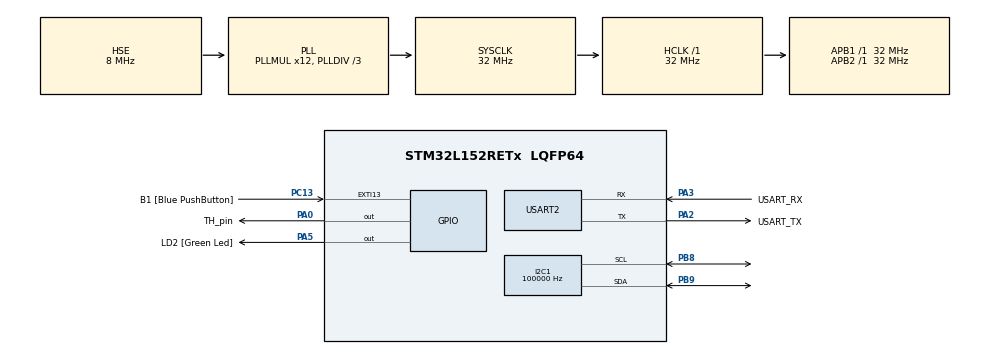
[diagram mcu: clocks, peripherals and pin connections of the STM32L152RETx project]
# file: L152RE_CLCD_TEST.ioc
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Dma.Request0=USART2_RX
Dma.Request1=USART2_TX
Dma.USART2_RX.0.Direction=DMA_PERIPH_TO_MEMORY
Dma.USART2_RX.0.Instance=DMA1_Channel6
Dma.USART2_RX.0.MemDataAlignment=DMA_MDATAALIGN_BYTE
Dma.USART2_RX.0.MemInc=DMA_MINC_ENABLE
Dma.USART2_RX.0.Mode=DMA_NORMAL
Dma.USART2_RX.0.PeriphDataAlignment=DMA_PDATAALIGN_BYTE
Dma.USART2_RX.0.PeriphInc=DMA_PINC_DISABLE
Dma.USART2_RX.0.Priority=DMA_PRIORITY_LOW
Dma.USART2_TX.1.Direction=DMA_MEMORY_TO_PERIPH
Dma.USART2_TX.1.Instance=DMA1_Channel7
Dma.USART2_TX.1.MemDataAlignment=DMA_MDATAALIGN_BYTE
Dma.USART2_TX.1.MemInc=DMA_MINC_ENABLE
Dma.USART2_TX.1.Mode=DMA_NORMAL
Dma.USART2_TX.1.PeriphDataAlignment=DMA_PDATAALIGN_BYTE
Dma.USART2_TX.1.PeriphInc=DMA_PINC_DISABLE
Dma.USART2_TX.1.Priority=DMA_PRIORITY_LOW
I2C1.ClockSpeed=100000
Mcu.Family=STM32L1
Mcu.Name=STM32L152RETx
Mcu.Package=LQFP64
NVIC.DMA1_Channel6_IRQn=true\:0\:0\:false\:false\:true\:false\:true\:true
NVIC.DMA1_Channel7_IRQn=true\:0\:0\:false\:false\:true\:false\:true\:true
NVIC.PriorityGroup=NVIC_PRIORITYGROUP_0
NVIC.USART2_IRQn=true\:0\:0\:false\:false\:true\:true\:true\:true
PA0-WKUP1.GPIO_Label=TH_pin
PA0-WKUP1.GPIO_ModeDefaultOutputPP=GPIO_MODE_OUTPUT_OD
PA0-WKUP1.GPIO_PuPd=GPIO_PULLUP
PA0-WKUP1.GPIO_Speed=GPIO_SPEED_FREQ_HIGH
PA0-WKUP1.Signal=GPIO_Output
PA13.GPIO_Label=TMS
PA13.Mode=Serial_Wire
PA13.Signal=SYS_JTMS-SWDIO
PA14.GPIO_Label=TCK
PA14.Mode=Serial_Wire
PA14.Signal=SYS_JTCK-SWCLK
PA2.GPIO_Label=USART_TX
PA2.Mode=Asynchronous
PA2.Signal=USART2_TX
PA3.GPIO_Label=USART_RX
PA3.Mode=Asynchronous
PA3.Signal=USART2_RX
PA5.GPIO_Label=LD2 [Green Led]
PA5.Signal=GPIO_Output
PB3.GPIO_Label=SWO
PB3.Signal=SYS_JTDO-TRACESWO
PB8.Mode=I2C
PB8.Signal=I2C1_SCL
PB9.Mode=I2C
PB9.Signal=I2C1_SDA
PC13-WKUP2.GPIO_Label=B1 [Blue PushButton]
PC13-WKUP2.Signal=GPXTI13
PC14-OSC32_IN.Mode=LSE-External-Oscillator
PC14-OSC32_IN.Signal=RCC_OSC32_IN
PC15-OSC32_OUT.Mode=LSE-External-Oscillator
PC15-OSC32_OUT.Signal=RCC_OSC32_OUT
PH0-OSC_IN.Mode=HSE-External-Clock-Source
PH0-OSC_IN.Signal=RCC_OSC_IN
PH1-OSC_OUT.Signal=RCC_OSC_OUT
ProjectManager.HeapSize=0x200
ProjectManager.StackSize=0x400
ProjectManager.TargetToolchain=STM32CubeIDE
RCC.48MHZClocksFreq_Value=48000000
RCC.AHBFreq_Value=32000000
RCC.APB1Freq_Value=32000000
RCC.APB1TimFreq_Value=32000000
RCC.APB2Freq_Value=32000000
RCC.APB2TimFreq_Value=32000000
RCC.HCLKFreq_Value=32000000
RCC.HSE_VALUE=8000000
RCC.HSI_VALUE=16000000
RCC.MSI_VALUE=2097000
RCC.PLLDIV=RCC_PLL_DIV3
RCC.PLLMUL=RCC_PLL_MUL12
RCC.PLLSourceVirtual=RCC_PLLSOURCE_HSE
RCC.RTCClockSelectionVirtual=RCC_RTCCLKSOURCE_LSE
RCC.SYSCLKFreq_VALUE=32000000
RCC.SYSCLKSource=RCC_SYSCLKSOURCE_PLLCLK
RCC.USBOutput=48000000
RCC.VCOOutputFreq_Value=96000000
TIM3.Prescaler=32-1
USART2.VirtualMode=VM_ASYNC
VP_TIM3_VS_ClockSourceINT.Mode=Internal
board=NUCLEO-L152RE

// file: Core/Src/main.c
/* USER CODE BEGIN Header */
/**
  ******************************************************************************
  * @file           : main.c
  * @brief          : Main program body
  ******************************************************************************
  * @attention
  *
  * Copyright (c) 2022 STMicroelectronics.
  * All rights reserved.
  *
  * This software is licensed under terms that can be found in the LICENSE file
  * in the root directory of this software component.
  * If no LICENSE file comes with this software, it is provided AS-IS.
  *
  ******************************************************************************
  */
/* USER CODE END Header */
#include "main.h"

/* USER CODE BEGIN Includes */
#include "string.h"
#include "stdio.h"
#include "char_lcd.h"
#include "am2302.h"
//#include "dht11.h"
#include "stdlib.h"

/* USER CODE END Includes */

 I2C_HandleTypeDef hi2c1;

TIM_HandleTypeDef htim3;

UART_HandleTypeDef huart2;
DMA_HandleTypeDef hdma_usart2_rx;
DMA_HandleTypeDef hdma_usart2_tx;

void SystemClock_Config(void);
static void MX_GPIO_Init(void);
static void MX_I2C1_Init(void);
static void MX_DMA_Init(void);
static void MX_USART2_UART_Init(void);
static void MX_TIM3_Init(void);

/* USER CODE BEGIN 0 */
void delay_us(uint16_t delay){
    __HAL_TIM_SET_COUNTER(&htim3, 0);
    while(__HAL_TIM_GET_COUNTER(&htim3) < delay){
        __asm__ __volatile__ ("nop");
    }
}
void startUsCounter(){
    __HAL_TIM_SET_COUNTER(&htim3, 0);
}
uint16_t getUsCounter(){
    return __HAL_TIM_GET_COUNTER(&htim3);
}

/* USER CODE END 0 */

int main(void)
{

  /* MCU Configuration--------------------------------------------------------*/

  /* Reset of all peripherals, Initializes the Flash interface and the Systick. */
  HAL_Init();

  /* Configure the system clock */
  SystemClock_Config();

  /* Initialize all configured peripherals */
  MX_GPIO_Init();
  MX_I2C1_Init();
  MX_DMA_Init();
  MX_USART2_UART_Init();
  MX_TIM3_Init();
  /* USER CODE BEGIN 2 */
    HAL_TIM_Base_Start(&htim3);
    HAL_Delay(200);
    LCD_init();
  /* USER CODE END 2 */

  /* Infinite loop */
  /* USER CODE BEGIN WHILE */
#pragma clang diagnostic push
#pragma ide diagnostic ignored "EndlessLoop"
  while (1)
  {
    /* USER CODE END WHILE */

    /* USER CODE BEGIN 3 */
      LCD_set_cursor(0, 0);
      char tx_str[40]={0,};
      static char c = '?';
      c = c=='|' ? '-':'|';
      THdata th_data = am2302_getSensorData();
      if (th_data.temp == AM2302_SENSOR_ERROR.temp){
          sprintf(tx_str, "Temp: ERROR      ");
      }
      else{
          sprintf(tx_str, "Temp:%ld.%d C", th_data.temp/10,abs(th_data.temp%10));

      }
      for(unsigned int i= strlen(tx_str); i < 15; i++){
          tx_str[i] = ' ';
      }
      tx_str[15] = c;
      LCD_Write_str(tx_str, strlen(tx_str));
      HAL_UART_Transmit_DMA(&huart2, tx_str, strlen(tx_str));

      LCD_set_cursor(1,0);
      if(th_data.rh == AM2302_SENSOR_ERROR.rh){
          sprintf(tx_str, "RH: ERROR     ");
      }
      else{
          sprintf(tx_str, "RH: %d.%d%%     ", th_data.rh/10, th_data.rh%10);
      }
      LCD_Write_str(tx_str, strlen(tx_str));
      HAL_UART_Transmit_DMA(&huart2, tx_str, strlen(tx_str));
      HAL_Delay(1000);

  }
#pragma clang diagnostic pop
  /* USER CODE END 3 */
}

void SystemClock_Config(void)
{
  RCC_OscInitTypeDef RCC_OscInitStruct = {0};
  RCC_ClkInitTypeDef RCC_ClkInitStruct = {0};

  /** Configure the main internal regulator output voltage
  */
  __HAL_PWR_VOLTAGESCALING_CONFIG(PWR_REGULATOR_VOLTAGE_SCALE1);

  /** Initializes the RCC Oscillators according to the specified parameters
  * in the RCC_OscInitTypeDef structure.
  */
  RCC_OscInitStruct.OscillatorType = RCC_OSCILLATORTYPE_HSE;
  RCC_OscInitStruct.HSEState = RCC_HSE_BYPASS;
  RCC_OscInitStruct.PLL.PLLState = RCC_PLL_ON;
  RCC_OscInitStruct.PLL.PLLSource = RCC_PLLSOURCE_HSE;
  RCC_OscInitStruct.PLL.PLLMUL = RCC_PLL_MUL12;
  RCC_OscInitStruct.PLL.PLLDIV = RCC_PLL_DIV3;
  if (HAL_RCC_OscConfig(&RCC_OscInitStruct) != HAL_OK)
  {
    Error_Handler();
  }

  /** Initializes the CPU, AHB and APB buses clocks
  */
  RCC_ClkInitStruct.ClockType = RCC_CLOCKTYPE_HCLK|RCC_CLOCKTYPE_SYSCLK
                              |RCC_CLOCKTYPE_PCLK1|RCC_CLOCKTYPE_PCLK2;
  RCC_ClkInitStruct.SYSCLKSource = RCC_SYSCLKSOURCE_PLLCLK;
  RCC_ClkInitStruct.AHBCLKDivider = RCC_SYSCLK_DIV1;
  RCC_ClkInitStruct.APB1CLKDivider = RCC_HCLK_DIV1;
  RCC_ClkInitStruct.APB2CLKDivider = RCC_HCLK_DIV1;

  if (HAL_RCC_ClockConfig(&RCC_ClkInitStruct, FLASH_LATENCY_1) != HAL_OK)
  {
    Error_Handler();
  }
}

static void MX_I2C1_Init(void)
{

  hi2c1.Instance = I2C1;
  hi2c1.Init.ClockSpeed = 100000;
  hi2c1.Init.DutyCycle = I2C_DUTYCYCLE_2;
  hi2c1.Init.OwnAddress1 = 0;
  hi2c1.Init.AddressingMode = I2C_ADDRESSINGMODE_7BIT;
  hi2c1.Init.DualAddressMode = I2C_DUALADDRESS_DISABLE;
  hi2c1.Init.OwnAddress2 = 0;
  hi2c1.Init.GeneralCallMode = I2C_GENERALCALL_DISABLE;
  hi2c1.Init.NoStretchMode = I2C_NOSTRETCH_DISABLE;
  if (HAL_I2C_Init(&hi2c1) != HAL_OK)
  {
    Error_Handler();
  }

}

static void MX_TIM3_Init(void)
{

  TIM_ClockConfigTypeDef sClockSourceConfig = {0};
  TIM_MasterConfigTypeDef sMasterConfig = {0};

  htim3.Instance = TIM3;
  htim3.Init.Prescaler = 32-1;
  htim3.Init.CounterMode = TIM_COUNTERMODE_UP;
  htim3.Init.Period = 65535;
  htim3.Init.ClockDivision = TIM_CLOCKDIVISION_DIV1;
  htim3.Init.AutoReloadPreload = TIM_AUTORELOAD_PRELOAD_DISABLE;
  if (HAL_TIM_Base_Init(&htim3) != HAL_OK)
  {
    Error_Handler();
  }
  sClockSourceConfig.ClockSource = TIM_CLOCKSOURCE_INTERNAL;
  if (HAL_TIM_ConfigClockSource(&htim3, &sClockSourceConfig) != HAL_OK)
  {
    Error_Handler();
  }
  sMasterConfig.MasterOutputTrigger = TIM_TRGO_RESET;
  sMasterConfig.MasterSlaveMode = TIM_MASTERSLAVEMODE_DISABLE;
  if (HAL_TIMEx_MasterConfigSynchronization(&htim3, &sMasterConfig) != HAL_OK)
  {
    Error_Handler();
  }

}

static void MX_USART2_UART_Init(void)
{

  huart2.Instance = USART2;
  huart2.Init.BaudRate = 115200;
  huart2.Init.WordLength = UART_WORDLENGTH_8B;
  huart2.Init.StopBits = UART_STOPBITS_1;
  huart2.Init.Parity = UART_PARITY_NONE;
  huart2.Init.Mode = UART_MODE_TX_RX;
  huart2.Init.HwFlowCtl = UART_HWCONTROL_NONE;
  huart2.Init.OverSampling = UART_OVERSAMPLING_16;
  if (HAL_UART_Init(&huart2) != HAL_OK)
  {
    Error_Handler();
  }

}

static void MX_DMA_Init(void)
{

  /* DMA controller clock enable */
  __HAL_RCC_DMA1_CLK_ENABLE();

  /* DMA interrupt init */
  /* DMA1_Channel6_IRQn interrupt configuration */
  HAL_NVIC_SetPriority(DMA1_Channel6_IRQn, 0, 0);
  HAL_NVIC_EnableIRQ(DMA1_Channel6_IRQn);
  /* DMA1_Channel7_IRQn interrupt configuration */
  HAL_NVIC_SetPriority(DMA1_Channel7_IRQn, 0, 0);
  HAL_NVIC_EnableIRQ(DMA1_Channel7_IRQn);

}

static void MX_GPIO_Init(void)
{
  GPIO_InitTypeDef GPIO_InitStruct = {0};

  /* GPIO Ports Clock Enable */
  __HAL_RCC_GPIOC_CLK_ENABLE();
  __HAL_RCC_GPIOH_CLK_ENABLE();
  __HAL_RCC_GPIOA_CLK_ENABLE();
  __HAL_RCC_GPIOB_CLK_ENABLE();

  /*Configure GPIO pin Output Level */
  HAL_GPIO_WritePin(GPIOA, TH_pin_Pin|LD2_Pin, GPIO_PIN_RESET);

  /*Configure GPIO pin : B1_Pin */
  GPIO_InitStruct.Pin = B1_Pin;
  GPIO_InitStruct.Mode = GPIO_MODE_IT_RISING;
  GPIO_InitStruct.Pull = GPIO_NOPULL;
  HAL_GPIO_Init(B1_GPIO_Port, &GPIO_InitStruct);

  /*Configure GPIO pin : TH_pin_Pin */
  GPIO_InitStruct.Pin = TH_pin_Pin;
  GPIO_InitStruct.Mode = GPIO_MODE_OUTPUT_OD;
  GPIO_InitStruct.Pull = GPIO_PULLUP;
  GPIO_InitStruct.Speed = GPIO_SPEED_FREQ_HIGH;
  HAL_GPIO_Init(TH_pin_GPIO_Port, &GPIO_InitStruct);

  /*Configure GPIO pin : LD2_Pin */
  GPIO_InitStruct.Pin = LD2_Pin;
  GPIO_InitStruct.Mode = GPIO_MODE_OUTPUT_PP;
  GPIO_InitStruct.Pull = GPIO_NOPULL;
  GPIO_InitStruct.Speed = GPIO_SPEED_FREQ_LOW;
  HAL_GPIO_Init(LD2_GPIO_Port, &GPIO_InitStruct);

}

void Error_Handler(void)
{
  __disable_irq();
  while (1)
  {
  }
}
